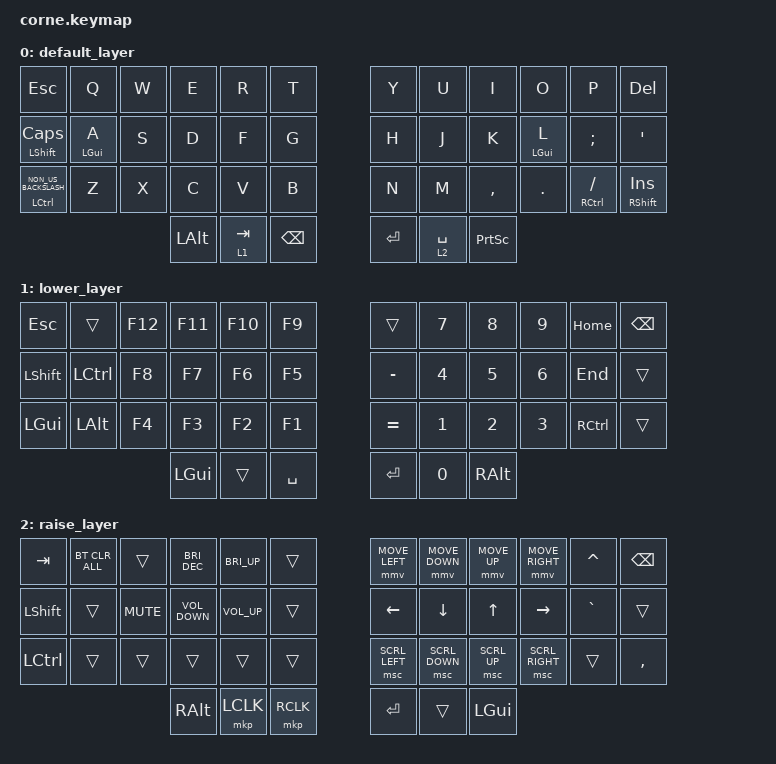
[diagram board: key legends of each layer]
/*
 * Copyright (c) 2020 The ZMK Contributors
 *
 * SPDX-License-Identifier: MIT
 */

#include <behaviors.dtsi>
#include <dt-bindings/zmk/bt.h>
#include <dt-bindings/zmk/keys.h>
#include <dt-bindings/zmk/pointing.h>

/ {
    behaviors {
        // Ajusta o tempo de todos os Mod-Tap para 280ms
        mtcustom: custom_mt {
            compatible = "zmk,behavior-hold-tap";
            #binding-cells = <2>;
            flavor = "tap-preferred";
            tapping-term-ms = <280>;
            quick-tap-ms = <200>;
            bindings = <&kp>, <&kp>;
        };
    };

    combos {
        compatible = "zmk,combos";

        combo1L {
            bindings = <&kp LEFT_PARENTHESIS>;
            key-positions = <14 15>;
        };

        combo2L {
            bindings = <&kp RIGHT_PARENTHESIS>;
            key-positions = <16 15>;
        };

        combo3L {
            bindings = <&kp MINUS>;
            key-positions = <14 16>;
        };

        combo1R {
            bindings = <&kp LEFT_BRACKET>;
            key-positions = <19 20>;
        };

        combo2R {
            bindings = <&kp RBKT>;
            key-positions = <20 21>;
        };

        combo3R {
            bindings = <&kp EQUAL>;
            key-positions = <19 21>;
        };
    };

    keymap {
        compatible = "zmk,keymap";

        default_layer {
            // -----------------------------------------------------------------------------------------
            // |  TAB |  Q  |  W  |  E  |  R  |  T  |   |  Y  |  U   |  I  |  O  |  P  | BSPC |
            // | CTRL |  A  |  S  |  D  |  F  |  G  |   |  H  |  J   |  K  |  L  |  ;  |  '   |
            // | SHFT |  Z  |  X  |  C  |  V  |  B  |   |  N  |  M   |  ,  |  .  |  /  | ESC  |
            //                     | GUI | LWR | SPC |   | ENT | RSE  | ALT |

            bindings = <
&kp ESC                              &kp Q             &kp W  &kp E         &kp R        &kp T              &kp Y    &kp U          &kp I            &kp O         &kp P                     &kp DELETE
&mt LEFT_SHIFT CAPSLOCK            &mtcustom LEFT_GUI A  &kp S  &kp D         &kp F        &kp G              &kp H    &kp J          &kp K            &mtcustom LGUI L  &kp SEMI                  &kp SINGLE_QUOTE
&mt LEFT_CONTROL NON_US_BACKSLASH  &kp Z             &kp X  &kp C         &kp V        &kp B              &kp N    &kp M          &kp COMMA        &kp DOT       &mt RIGHT_CONTROL FSLH  &mt RIGHT_SHIFT INS
                                                            &kp LEFT_ALT  &lt 1 TAB  &kp BACKSPACE      &kp RET  &lt 2 SPACE  &kp PRINTSCREEN
            >;
        };

        lower_layer {
            // -----------------------------------------------------------------------------------------
            // |  TAB |  1  |  2  |  3  |  4  |  5  |   |  6  |  7  |  8  |  9  |  0  | BSPC |
            // | BTCLR| BT1 | BT2 | BT3 | BT4 | BT5 |   | LFT | DWN |  UP | RGT |     |      |
            // | SHFT |     |     |     |     |     |   |     |     |     |     |     |      |
            //                     | GUI |     | SPC |   | ENT |     | ALT |

            bindings = <
&kp ESC         &trans            &kp F12  &kp F11       &kp F10  &kp F9       &trans     &kp N7        &kp N8        &kp N9        &kp HOME           &kp BSPC
&kp LEFT_SHIFT  &kp LEFT_CONTROL  &kp F8   &kp F7        &kp F6   &kp F5       &kp MINUS  &kp NUMBER_4  &kp NUMBER_5  &kp NUMBER_6  &kp END            &trans
&kp LEFT_GUI    &kp LEFT_ALT      &kp F4   &kp F3        &kp F2   &kp F1       &kp EQUAL  &kp NUMBER_1  &kp NUMBER_2  &kp NUMBER_3  &kp RIGHT_CONTROL  &trans
                                           &kp LEFT_GUI  &trans   &kp SPACE    &kp RET    &kp N0        &kp RIGHT_ALT
            >;
        };

        raise_layer {
            // -----------------------------------------------------------------------------------------
            // |  TAB |  1  |  2  |  3  |  4  |  5  |   |  6  |  7  |  8  |  9  |  0  | BSPC |
            // | CTRL |     |     |     |     |     |   |  -  |  =  |  [  |  ]  |  \  |  `   |
            // | SHFT |     |     |     |     |     |   |  _  |  +  |  {  |  }  | "|" |  ~   |
            //                     | GUI |     | SPC |   | ENT |     | ALT |

            bindings = <
&kp TAB           &bt BT_CLR_ALL  &trans      &kp C_BRI_DEC      &kp C_BRI_UP       &trans       &mmv MOVE_LEFT  &mmv MOVE_DOWN  &mmv MOVE_UP  &mmv MOVE_RIGHT  &kp CARET  &kp BSPC
&kp LEFT_SHIFT    &trans          &kp C_MUTE  &kp C_VOLUME_DOWN  &kp C_VOLUME_UP    &trans       &kp LEFT        &kp DOWN        &kp UP        &kp RIGHT        &kp GRAVE  &trans
&kp LEFT_CONTROL  &trans          &trans      &trans             &trans             &trans       &msc SCRL_LEFT  &msc SCRL_DOWN  &msc SCRL_UP  &msc SCRL_RIGHT  &trans     &kp COMMA
                                              &kp RALT           &mkp LCLK          &mkp RCLK    &kp RET         &trans          &kp LGUI
            >;
        };
    };
};
